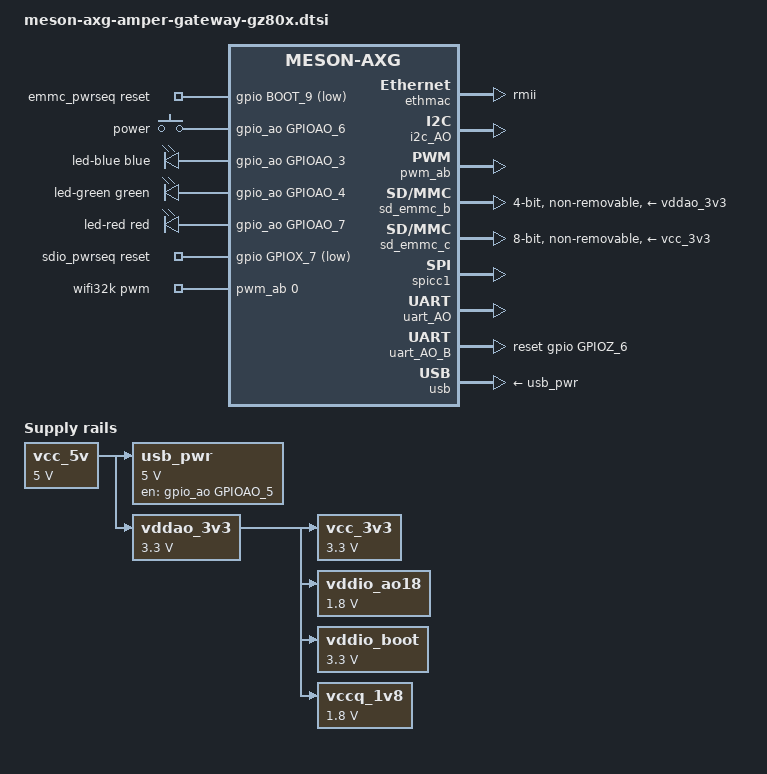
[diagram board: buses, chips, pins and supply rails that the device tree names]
// SPDX-License-Identifier: (GPL-2.0+ OR MIT)
/*
 * Copyright (c) 2024 Patrick Yavitz <pyavitz@armbian.com>
 */

/dts-v1/;

#include "meson-axg.dtsi"
#include <dt-bindings/input/input.h>
#include <dt-bindings/leds/common.h>
#include <dt-bindings/thermal/thermal.h>

/ {
	aliases {
		serial0 = &uart_AO;
	};

	chosen {
		stdout-path = "serial0:115200n8";
	};

	emmc_pwrseq: emmc-pwrseq {
		compatible = "mmc-pwrseq-emmc";
		reset-gpios = <&gpio BOOT_9 GPIO_ACTIVE_LOW>;
	};

	gpio-keys-polled {
		compatible = "gpio-keys-polled";
		poll-interval = <100>;

		button-power {
			label = "power";
			linux,code = <KEY_POWER>;
			gpios = <&gpio_ao GPIOAO_6 GPIO_ACTIVE_HIGH>;
		};
	};

	leds {
		compatible = "gpio-leds";

		led-blue {
			color = <LED_COLOR_ID_BLUE>;
			function = LED_FUNCTION_STATUS;
			gpios = <&gpio_ao GPIOAO_3 GPIO_ACTIVE_HIGH>;
			linux,default-trigger = "default-on";
		};

		led-green {
			color = <LED_COLOR_ID_GREEN>;
			function = LED_FUNCTION_STATUS;
			gpios = <&gpio_ao GPIOAO_4 GPIO_ACTIVE_HIGH>;
			linux,default-trigger = "mmc1";
		};

		led-red {
			color = <LED_COLOR_ID_RED>;
			function = LED_FUNCTION_STATUS;
			gpios = <&gpio_ao GPIOAO_7 GPIO_ACTIVE_HIGH>;
			linux,default-trigger = "usb-host";
		};
 	};

	reserved-memory {
		linux,cma {
			size = <0x0 0x400000>;
		};
	};

	sdio_pwrseq: sdio-pwrseq {
		compatible = "mmc-pwrseq-simple";
		reset-gpios = <&gpio GPIOX_7 GPIO_ACTIVE_LOW>;
		clocks = <&wifi32k>;
		clock-names = "ext_clock";
	};

	thermal-zones {
		cpu_thermal: cpu-thermal {
			polling-delay-passive = <250>;
			polling-delay = <1000>;
			thermal-sensors = <&scpi_sensors 0>;
			trips {
				cpu_passive: cpu-passive {
					temperature = <70000>; /* millicelsius */
					hysteresis = <2000>; /* millicelsius */
					type = "passive";
				};

				cpu_hot: cpu-hot {
					temperature = <80000>; /* millicelsius */
					hysteresis = <2000>; /* millicelsius */
					type = "hot";
				};

				cpu_critical: cpu-critical {
					temperature = <100000>; /* millicelsius */
					hysteresis = <2000>; /* millicelsius */
					type = "critical";
				};
			};

			cpu_cooling_maps: cooling-maps {
				map0 {
					trip = <&cpu_passive>;
					cooling-device = <&cpu0 THERMAL_NO_LIMIT THERMAL_NO_LIMIT>,
							<&cpu1 THERMAL_NO_LIMIT THERMAL_NO_LIMIT>,
							<&cpu2 THERMAL_NO_LIMIT THERMAL_NO_LIMIT>,
							<&cpu3 THERMAL_NO_LIMIT THERMAL_NO_LIMIT>;
				};

				map1 {
					trip = <&cpu_hot>;
					cooling-device = <&cpu0 THERMAL_NO_LIMIT THERMAL_NO_LIMIT>,
							<&cpu1 THERMAL_NO_LIMIT THERMAL_NO_LIMIT>,
							<&cpu2 THERMAL_NO_LIMIT THERMAL_NO_LIMIT>,
							<&cpu3 THERMAL_NO_LIMIT THERMAL_NO_LIMIT>;
				};
			};
		};
	};

	usb_pwr: regulator-usb_pwr {
		compatible = "regulator-fixed";
		regulator-name = "USB_PWR";
		regulator-min-microvolt = <5000000>;
		regulator-max-microvolt = <5000000>;
		vin-supply = <&vcc_5v>;
		regulator-always-on;

		gpio = <&gpio_ao GPIOAO_5 GPIO_ACTIVE_HIGH>;
		enable-active-high;
	};

	vcc_3v3: regulator-vcc_3v3 {
		compatible = "regulator-fixed";
		regulator-name = "VCC_3V3";
		regulator-min-microvolt = <3300000>;
		regulator-max-microvolt = <3300000>;
		vin-supply = <&vddao_3v3>;
		regulator-always-on;
	};

	vcc_5v: regulator-vcc_5v {
		compatible = "regulator-fixed";
		regulator-name = "VCC5V";
		regulator-min-microvolt = <5000000>;
		regulator-max-microvolt = <5000000>;
		regulator-always-on;
	};

	vddao_3v3: regulator-vddao_3v3 {
		compatible = "regulator-fixed";
		regulator-name = "VDDAO_3V3";
		regulator-min-microvolt = <3300000>;
		regulator-max-microvolt = <3300000>;
		vin-supply = <&vcc_5v>;
		regulator-always-on;
	};

	vddio_ao18: regulator-vddio_ao18 {
		compatible = "regulator-fixed";
		regulator-name = "VDDIO_AO18";
		regulator-min-microvolt = <1800000>;
		regulator-max-microvolt = <1800000>;
		vin-supply = <&vddao_3v3>;
		regulator-always-on;
	};

	vddio_boot: regulator-vddio_boot {
		compatible = "regulator-fixed";
		regulator-name = "VDDIO_BOOT";
		regulator-min-microvolt = <3300000>;
		regulator-max-microvolt = <3300000>;
		vin-supply = <&vddao_3v3>;
		regulator-always-on;
	};

	vccq_1v8: regulator-vccq_1v8 {
		compatible = "regulator-fixed";
		regulator-name = "VCCQ_1V8";
		regulator-min-microvolt = <1800000>;
		regulator-max-microvolt = <1800000>;
		vin-supply = <&vddao_3v3>;
		regulator-always-on;
	};

	wifi32k: wifi32k {
		compatible = "pwm-clock";
		#clock-cells = <0>;
		clock-frequency = <32768>;
		pwms = <&pwm_ab 0 30518 0>; /* PWM_A at 32.768KHz */
	};
};

&cpu0 {
	#cooling-cells = <2>;
};

&cpu1 {
	#cooling-cells = <2>;
};

&cpu2 {
	#cooling-cells = <2>;
};

&cpu3 {
	#cooling-cells = <2>;
};

&ethmac {
	status = "okay";
	pinctrl-0 = <&eth_rmii_x_pins>;
	pinctrl-names = "default";
	phy-mode = "rmii";
};

/* Peripheral I2C bus (on motherboard) */
&i2c_AO {
	status = "okay";
	pinctrl-0 = <&i2c_ao_sck_10_pins>, <&i2c_ao_sda_11_pins>;
	pinctrl-names = "default";
};

&pwm_ab {
	status = "okay";
	pinctrl-0 = <&pwm_a_x20_pins>;
	pinctrl-names = "default";
};

/* WiFi module */
&sd_emmc_b {
	status = "okay";
	#address-cells = <1>;
	#size-cells = <0>;

	pinctrl-0 = <&sdio_pins>;
	pinctrl-1 = <&sdio_clk_gate_pins>;
	pinctrl-names = "default", "clk-gate";

	bus-width = <4>;
	cap-sd-highspeed;
	max-frequency = <50000000>;
	disable-wp;
	non-removable;

	mmc-pwrseq = <&sdio_pwrseq>;

	vmmc-supply = <&vddao_3v3>;
	vqmmc-supply = <&vddio_boot>;
};

/* eMMC Storage */
&sd_emmc_c {
	status = "okay";
	pinctrl-0 = <&emmc_pins>, <&emmc_ds_pins>;
	pinctrl-1 = <&emmc_clk_gate_pins>;
	pinctrl-names = "default", "clk-gate";

	bus-width = <8>;
	cap-mmc-highspeed;
	max-frequency = <200000000>;
	non-removable;
	disable-wp;
	mmc-ddr-1_8v;
	mmc-hs200-1_8v;

	mmc-pwrseq = <&emmc_pwrseq>;

	vmmc-supply = <&vcc_3v3>;
	vqmmc-supply = <&vccq_1v8>;
};

&spicc1 {
	status = "okay";
	pinctrl-0 = <&spi1_x_pins>, <&spi1_ss0_x_pins>;
	pinctrl-names = "default";
};

/* UART Console */
&uart_AO {
	status = "okay";
	pinctrl-0 = <&uart_ao_a_pins>;
	pinctrl-names = "default";
};

/* UART Wireless module */
&uart_AO_B {
	status = "okay";
	pinctrl-0 = <&uart_ao_b_z_pins>;
	pinctrl-names = "default";
	reset-gpios = <&gpio GPIOZ_6 GPIO_ACTIVE_HIGH>;
};

&usb {
	status = "okay";
	vbus-supply = <&usb_pwr>;
};
